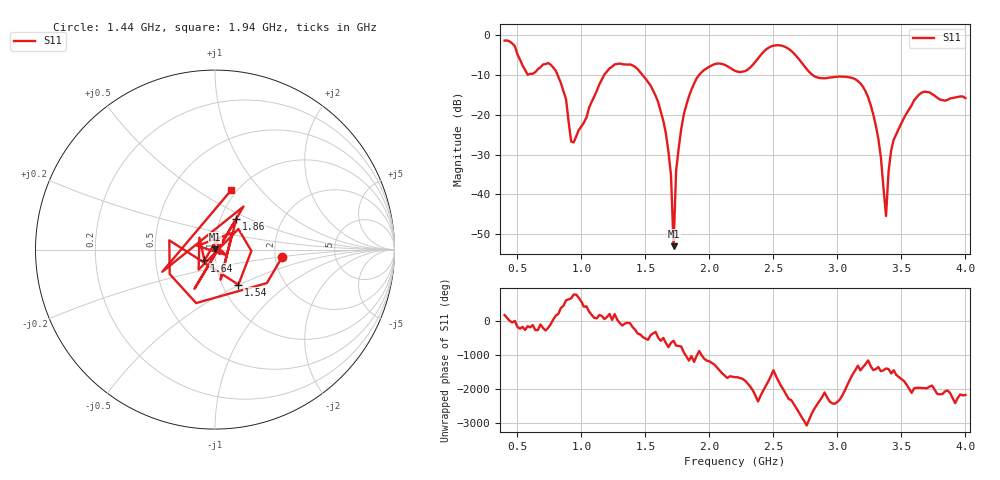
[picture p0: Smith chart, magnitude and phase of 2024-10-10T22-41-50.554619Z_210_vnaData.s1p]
! Created with skrf (http://scikit-rf.org).
# Hz S RI R 50.0
!freq ReS11 ImS11
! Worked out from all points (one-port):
!   181 points, 400 MHz to 4 GHz, reference 50 ohm
!   lowest |S11| = -53.1 dB at 1.72 GHz (marker M1), VSWR 1.00, Z = 49.8 + j0.131 ohm
!   |S11| at or under -10 dB: 814.1 MHz to 1.177 GHz (363 MHz wide, 36.5 % of centre); 1.48 GHz to 1.919 GHz (438.8 MHz wide, 25.8 % of centre); 2.809 GHz to end of sweep
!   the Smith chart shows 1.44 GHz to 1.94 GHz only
!   S11 on the Smith chart (normalised r, x): 1.44 GHz: 2.18, -0.22; 1.54 GHz: 1.19, -0.49; 1.64 GHz: 0.88, -0.11; 1.86 GHz: 1.19, +0.43; 1.94 GHz: 0.94, +0.71
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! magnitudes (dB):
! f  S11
! 400 MHz  -1.3
! 580 MHz  -9.9
! 760 MHz  -7.3
! 860 MHz  -14.1
! 940 MHz  -26.9
! 1.18 GHz  -9.8
! 1.3 GHz  -7.1
! 1.44 GHz  -8.5
! 1.54 GHz  -12.6
! 1.64 GHz  -21.5
! 1.7 GHz  -35.2
! 1.72 GHz  -53.1
! 1.74 GHz  -34.0
! 1.76 GHz  -28.4
! 1.86 GHz  -13.6
! 1.94 GHz  -9.2
! 2.2 GHz  -8.9
! 2.5 GHz  -2.6
! 2.66 GHz  -4.5
! 2.84 GHz  -10.6
! 3.1 GHz  -10.6
! 3.28 GHz  -19.9
! 3.34 GHz  -30.8
! 3.38 GHz  -45.4
! 3.42 GHz  -28.9
! 3.56 GHz  -18.6
! 3.68 GHz  -14.1
! 4 GHz  -15.8
